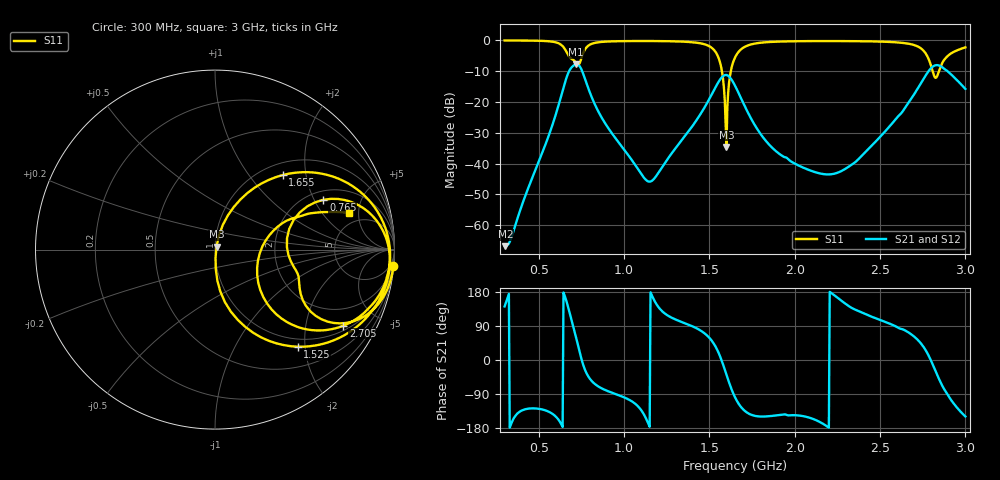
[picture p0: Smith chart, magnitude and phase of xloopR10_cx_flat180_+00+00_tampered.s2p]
! xloopR10_cx_flat180_+00+00_tampered, gap C 0.80 pF
! simulated by sim/fixtures_fdtd.py (S12 = S21, S22 not computed)
# HZ S RI R 50
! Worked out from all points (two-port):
!   541 points, 300 MHz to 3 GHz, reference 50 ohm
!   highest |S21| = -7.77 dB at 720 MHz (marker M1); lowest = -66.8 dB at 305 MHz (marker M2)
!   |S21| within 3 dB of the highest: 671.6 MHz to 760.1 MHz (88.57 MHz wide, 12.4 % of centre); 2.774 GHz to 2.911 GHz (136.9 MHz wide, 4.81 % of centre)
!   lowest |S11| = -34.6 dB at 1.6 GHz (marker M3), VSWR 1.04, Z = 50.8 + j1.68 ohm
!   |S11| at or under -10 dB: 1.573 GHz to 1.625 GHz (52.13 MHz wide, 3.26 % of centre); 2.808 GHz to 2.845 GHz (37.04 MHz wide, 1.31 % of centre)
!   |S22| runs from - to - dB; largest |S21 - S12| = 0
!   S11 on the Smith chart (normalised r, x): 300 MHz: 0, -21; 765 MHz: 2.39, +2.38; 1.525 GHz: 0.85, -1.85; 1.655 GHz: 1.22, +1.48; 2.705 GHz: 1.18, -3.25; 3 GHz: 3.79, +3.80
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3e8  0.994 -0.0937  -0.000363 0.00029  -0.000363 0.00029  0 0
3.05e8  0.9937 -0.0956  -0.000387 0.000247  -0.000387 0.000247  0 0
5.7e8  0.9155 -0.2963  -0.0266 -0.023  -0.0266 -0.023  0 0
6.65e8  0.5318 -0.3443  -0.2276 0.1251  -0.2276 0.1251  0 0
7.2e8  0.4225 -0.0652  0.2204 0.3443  0.2204 0.3443  0 0
7.5e8  0.4726 0.2076  0.3386 0.0184  0.3386 0.0184  0 0
7.65e8  0.6043 0.2775  0.2515 -0.0855  0.2515 -0.0855  0 0
8.5e8  0.9247 0.1253  0.0237 -0.0653  0.0237 -0.0653  0 0
1.11e9  0.9718 -0.1093  -0.00472 -0.00411  -0.00472 -0.00411  0 0
1.2e9  0.9608 -0.1677  -0.00542 0.00447  -0.00542 0.00447  0 0
1.525e9  0.4598 -0.541  0.1105 0.1051  0.1105 0.1051  0 0
1.57e9  0.0884 -0.3457  0.2473 0.00361  0.2473 0.00361  0 0
1.6e9  0.0085 0.0166  0.2144 -0.1715  0.2144 -0.1715  0 0
1.65e9  0.3391 0.4038  -0.0265 -0.1828  -0.0265 -0.1828  0 0
1.655e9  0.3774 0.4155  -0.0382 -0.1692  -0.0382 -0.1692  0 0
1.845e9  0.922 0.1828  -0.018 -0.011  -0.018 -0.011  0 0
2.1e9  0.9751 -0.0112  -0.00684 -0.0033  -0.00684 -0.0033  0 0
2.285e9  0.9697 -0.1033  -0.00701 0.00365  -0.00701 0.00365  0 0
2.55e9  0.9097 -0.2615  -0.00474 0.0383  -0.00474 0.0383  0 0
2.705e9  0.7152 -0.4239  0.0709 0.1219  0.0709 0.1219  0 0
2.825e9  0.2397 -0.059  0.3453 -0.1919  0.3453 -0.1919  0 0
3e9  0.744 0.2031  -0.1397 -0.0842  -0.1397 -0.0842  0 0
